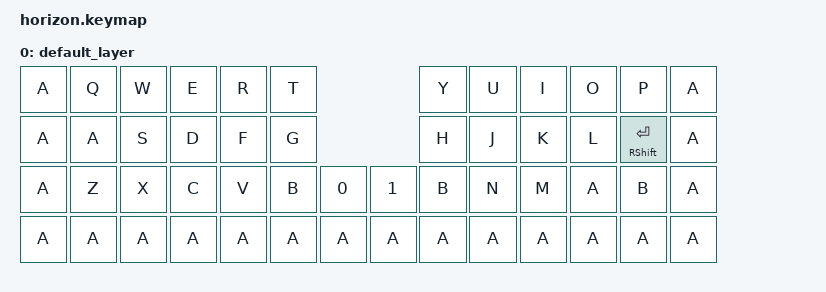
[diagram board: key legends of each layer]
/*
 * Copyright (c) 2021 The ZMK Contributors
 *
 * SPDX-License-Identifier: MIT
 */

#include <behaviors.dtsi>
#include <dt-bindings/zmk/keys.h>

#define DEF 0
#define SYM 1
#define FUN 2

&lt {
    tapping-term-ms = <180>;
    flavor = "tap-preferred";
};

/ {
    combos {
        compatible = "zmk,combos";

        comboESC {
            bindings = <&kp ESCAPE>;
            key-positions = <19 20>;
        };

        comboGUI {
            bindings = <&kp LEFT_WIN>;
            key-positions = <15 16>;
        };

        comboSKCtrl {
            bindings = <&sk LCTRL>;
            key-positions = <14 15>;
        };

        comboSKAlt {
            bindings = <&sk RALT>;
            key-positions = <20 21>;
        };
    };

    keymap {
        compatible = "zmk,keymap";

        default_layer {
            bindings = <
&kp A  &kp Q  &kp W  &kp E  &kp R  &kp T                        &kp Y  &kp U  &kp I  &kp O  &kp P                  &kp A
&kp A  &kp A  &kp S  &kp D  &kp F  &kp G                        &kp H  &kp J  &kp K  &kp L  &mt RIGHT_SHIFT ENTER  &kp A
&kp A  &kp Z  &kp X  &kp C  &kp V  &kp B  &kp N0  &kp NUMBER_1  &kp B  &kp N  &kp M  &kp A  &kp B                  &kp A
&kp A  &kp A  &kp A  &kp A  &kp A  &kp A  &kp A   &kp A         &kp A  &kp A  &kp A  &kp A  &kp A                  &kp A
            >;
        };
    };
};
